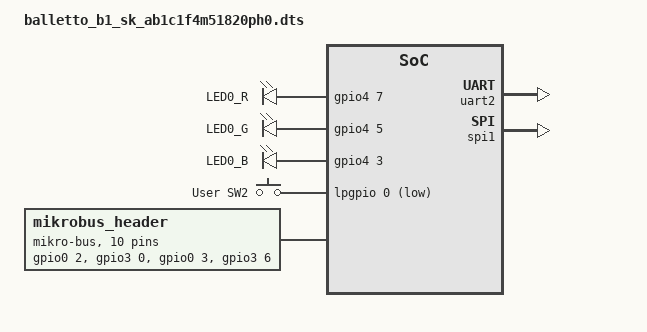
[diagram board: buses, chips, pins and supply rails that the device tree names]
/*
 * SPDX-FileCopyrightText: Copyright Alif Semiconductor
 * SPDX-License-Identifier: Apache-2.0
 */

/dts-v1/;

#include <alif/balletto/ab1c1f4m51820ph0.dtsi>
#include <zephyr/dt-bindings/gpio/gpio.h>
#include <zephyr/dt-bindings/input/input-event-codes.h>
#include <zephyr/dt-bindings/gpio/mikro-bus.h>
#include "balletto_b1_sk-pinctrl.dtsi"

/ {
	compatible = "alif,balletto-b1-sk-ab1c1f4m51820ph0";

	chosen {
		zephyr,flash = &mram;
		zephyr,sram = &dtcm;
		zephyr,console = &uart2;
		zephyr,shell-uart = &uart2;
	};

	aliases {
		led0 = &led_red;
		led1 = &led_green;
		led2 = &led_blue;
		sw0 = &user_button;
	};

	leds {
		compatible = "gpio-leds";

		led_red: led_0 {
			gpios = <&gpio4 7 GPIO_ACTIVE_HIGH>;
			label = "LED0_R";
		};

		led_green: led_1 {
			gpios = <&gpio4 5 GPIO_ACTIVE_HIGH>;
			label = "LED0_G";
		};

		led_blue: led_2 {
			gpios = <&gpio4 3 GPIO_ACTIVE_HIGH>;
			label = "LED0_B";
		};
	};

	gpio_keys {
		compatible = "gpio-keys";
		/*
		 * The DesignWare GPIO driver does not implement both
		 * edge triggering, which the interrupt driven mode of
		 * the GPIO keys driver needs.
		 */
		polling-mode;

		user_button: user_button {
			gpios = <&lpgpio 0 GPIO_ACTIVE_LOW>;
			label = "User SW2";
			zephyr,code = <INPUT_KEY_0>;
		};
	};

	mikrobus_header: mikrobus-connector {
		compatible = "mikro-bus";
		#gpio-cells = <2>;
		gpio-map-mask = <0xffffffff 0xffffffc0>;
		gpio-map-pass-thru = <0 0x3f>;
		gpio-map = <MIKROBUS_AN 0 &gpio0 2 0>,
			   <MIKROBUS_RST 0 &gpio3 0 0>,
			   <MIKROBUS_CS 0 &gpio0 3 0>,
			   <MIKROBUS_SCK 0 &gpio3 6 0>,
			   <MIKROBUS_MISO 0 &gpio3 4 0>,
			   <MIKROBUS_MOSI 0 &gpio3 5 0>,
			   <MIKROBUS_PWM 0 &gpio4 4 0>,
			   <MIKROBUS_INT 0 &gpio3 1 0>,
			   <MIKROBUS_RX 0 &gpio0 4 0>,
			   <MIKROBUS_TX 0 &gpio0 5 0>;
	};
};

&uart2 {
	pinctrl-0 = <&uart2_default>;
	pinctrl-names = "default";
	status = "okay";
};

&gpio4 {
	pinctrl-0 = <&gpio4_default>;
	pinctrl-names = "default";
	status = "okay";
};

&lpgpio {
	pinctrl-0 = <&lpgpio_default>;
	pinctrl-names = "default";
	status = "okay";
};

&gpio0 {
	pinctrl-0 = <&gpio0_default>;
	pinctrl-names = "default";
	status = "okay";
};

&gpio3 {
	pinctrl-0 = <&gpio3_default>;
	pinctrl-names = "default";
	status = "okay";
};

mikrobus_spi: &spi1 {
	pinctrl-0 = <&spi1_default>;
	pinctrl-names = "default";
	cs-gpios = <&mikrobus_header MIKROBUS_CS GPIO_ACTIVE_LOW>;
	status = "okay";
};
